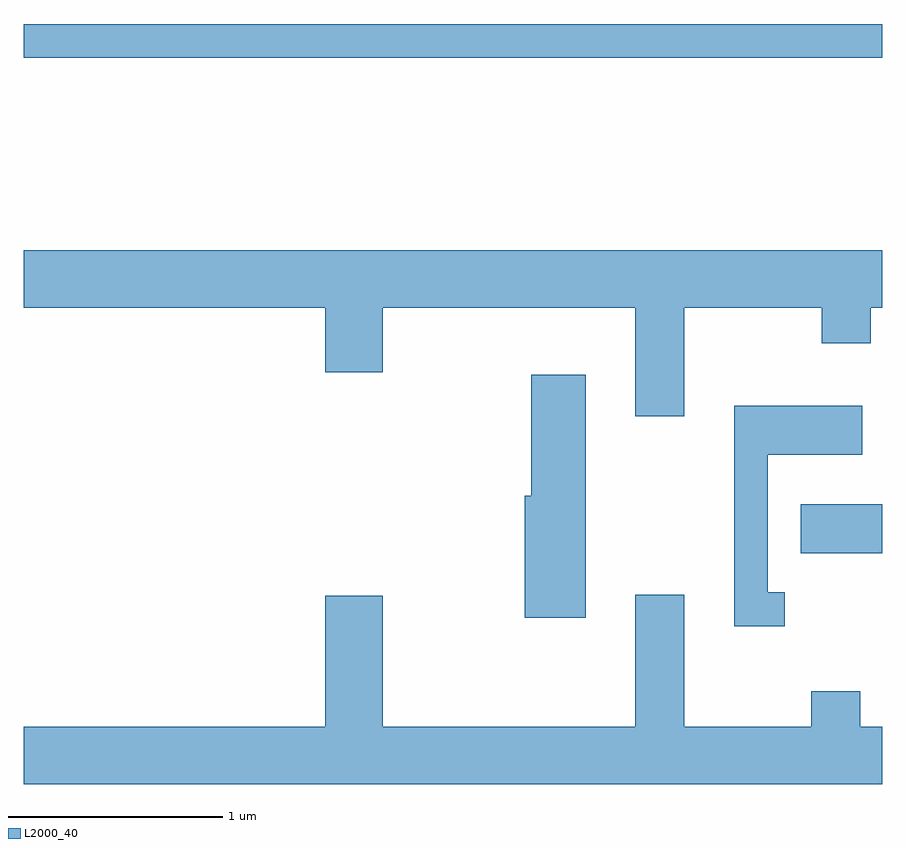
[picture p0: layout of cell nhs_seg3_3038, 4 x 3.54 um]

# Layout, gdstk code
import gdstk
lib = gdstk.Library(unit=1e-6, precision=1e-09)
def R(c, l, rs):  # rectangles x0, y0, x1, y1
    for r in rs: c.add(gdstk.rectangle(r[:2], r[2:], *l))
def P(c, l, *ps):  # polygons
    for p in ps: c.add(gdstk.Polygon(p, *l))
L2000_40 = (2000, 40)

nhs_seg3_3038 = lib.new_cell('nhs_seg3_3038')
R(nhs_seg3_3038, L2000_40, [(277.231,1209.231,277.611,1209.459), (273.611,1211.541,277.611,1211.699)])
P(nhs_seg3_3038, L2000_40, [(276.689,1210.376),(277.331,1210.376),(277.331,1210.211),(277.559,1210.211),(277.559,1210.376),(277.611,1210.376),(277.611,1210.644),(273.611,1210.644),(273.611,1210.376),(275.016,1210.376),(275.016,1210.076),(275.284,1210.076),(275.284,1210.376),(276.461,1210.376),(276.461,1209.871),(276.689,1209.871)],
  [(276.229,1210.064),(275.976,1210.064),(275.976,1209.499),(275.946,1209.499),(275.946,1208.931),(276.229,1208.931)],
  [(277.158,1209.049),(277.079,1209.049),(277.079,1209.691),(277.519,1209.691),(277.519,1209.919),(276.921,1209.919),(276.921,1208.891),(277.158,1208.891)],
  [(277.611,1208.424),(277.509,1208.424),(277.509,1208.589),(277.281,1208.589),(277.281,1208.424),(276.689,1208.424),(276.689,1209.039),(276.461,1209.039),(276.461,1208.424),(275.284,1208.424),(275.284,1209.034),(275.016,1209.034),(275.016,1208.424),(273.611,1208.424),(273.611,1208.156),(277.611,1208.156)])

lib.write_gds('nhs_seg3_3038.gds')
